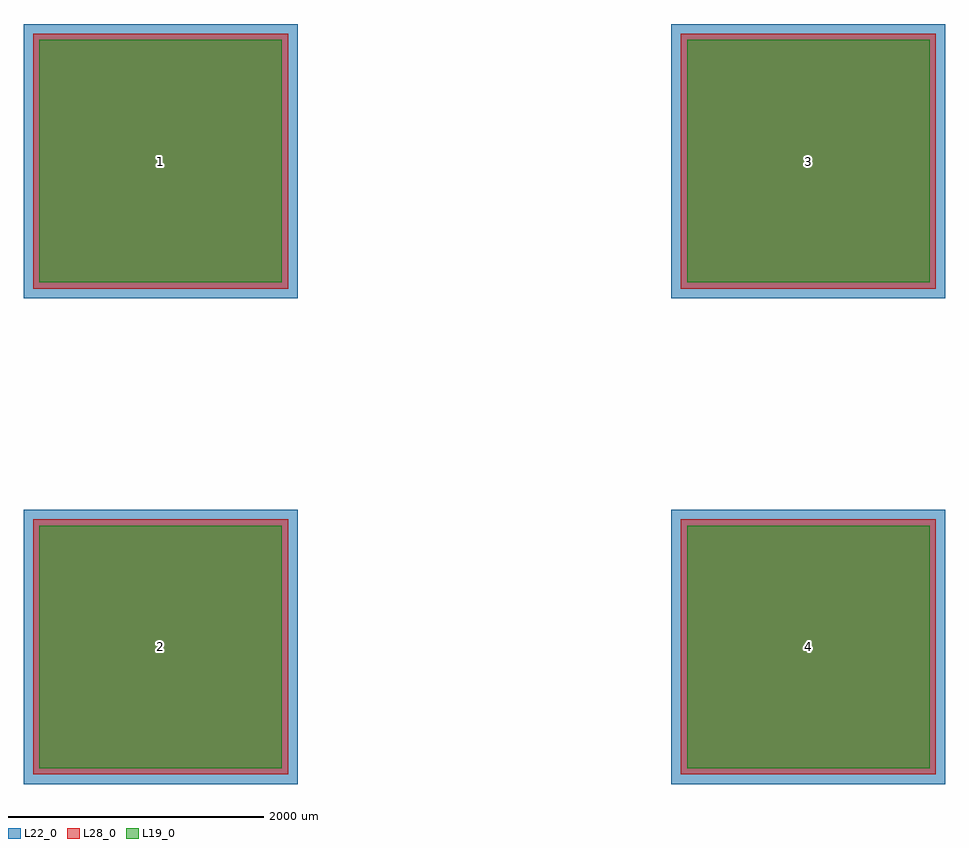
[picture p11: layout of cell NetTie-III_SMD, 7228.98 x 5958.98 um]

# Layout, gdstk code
import gdstk
lib = gdstk.Library(unit=1e-6, precision=1e-09)
def R(c, l, rs):  # rectangles x0, y0, x1, y1
    for r in rs: c.add(gdstk.rectangle(r[:2], r[2:], *l))
L19_0 = (19, 0)
L22_0 = (22, 0)
L28_0 = (28, 0)

nettie_iii_smd = lib.new_cell('NetTie-III_SMD')
R(nettie_iii_smd, L19_0, [(-3489.49,-4759.49,-1590.51,-2860.51), (1590.51,-4759.49,3489.49,-2860.51), (-3489.49,-949.49,-1590.51,949.49), (1590.51,-949.49,3489.49,949.49)])
R(nettie_iii_smd, L22_0, [(-3614.49,-4884.49,-1465.51,-2735.51), (1465.51,-4884.49,3614.49,-2735.51), (-3614.49,-1074.49,-1465.51,1074.49), (1465.51,-1074.49,3614.49,1074.49)])
R(nettie_iii_smd, L28_0, [(-3539.49,-4809.49,-1540.51,-2810.51), (1540.51,-4809.49,3539.49,-2810.51), (-3539.49,-999.49,-1540.51,999.49), (1540.51,-999.49,3539.49,999.49)])
nettie_iii_smd.add(gdstk.Label('4', (2540,-3810), layer=28, texttype=0))
nettie_iii_smd.add(gdstk.Label('3', (2540,0), layer=28, texttype=0))
nettie_iii_smd.add(gdstk.Label('2', (-2540,-3810), layer=28, texttype=0))
nettie_iii_smd.add(gdstk.Label('1', (-2540,0), layer=28, texttype=0))
nettie_iii_smd.add(gdstk.Label('type', (0,3048), layer=9, texttype=0))
nettie_iii_smd.add(gdstk.Label('devicename', (0,-7620), layer=9, texttype=0))

lib.write_gds('NetTie-III_SMD.gds')
